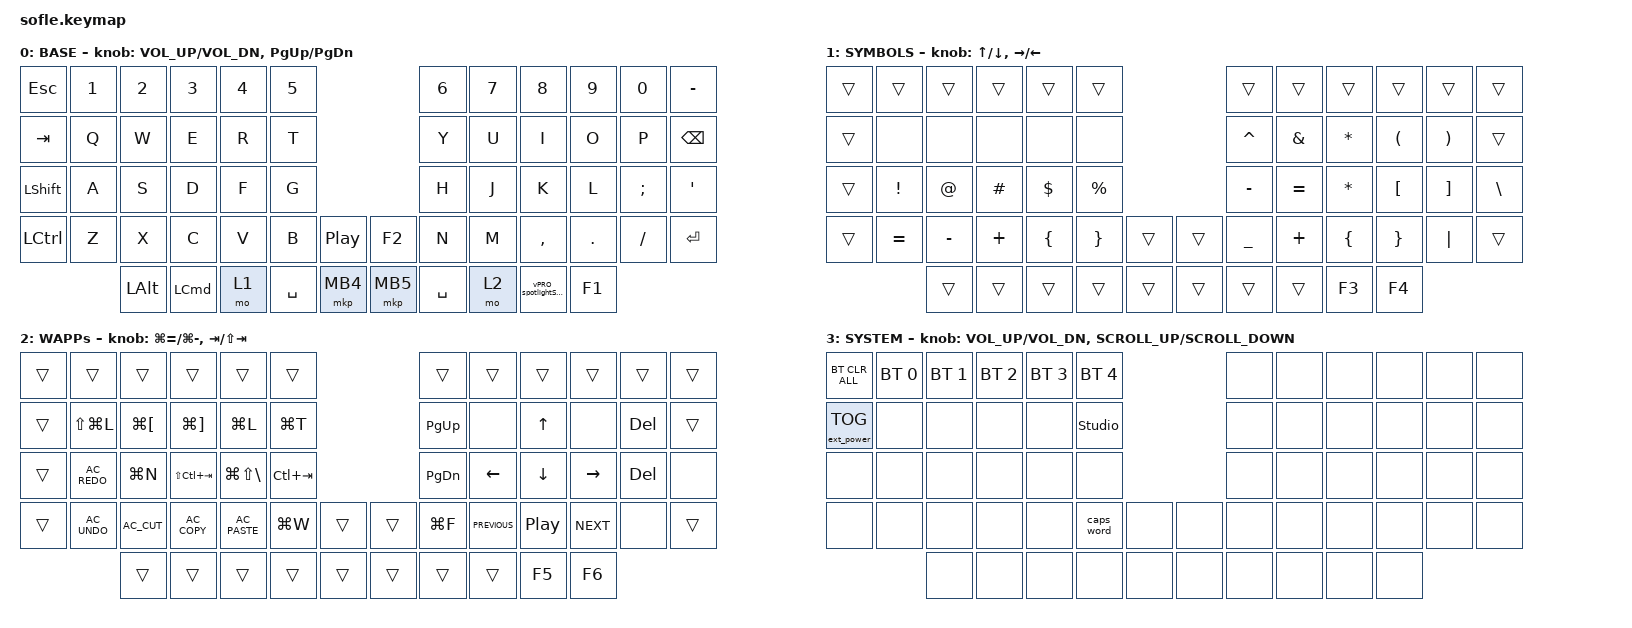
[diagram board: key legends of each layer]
/*
 * Copyright (c) 2020 The ZMK Contributors
 *
 * SPDX-License-Identifier: MIT
 */

#include <behaviors.dtsi>
#include <dt-bindings/zmk/bt.h>
#include <dt-bindings/zmk/ext_power.h>
#include <dt-bindings/zmk/keys.h>
#include <dt-bindings/zmk/pointing.h>

// Encoders

&sensors { triggers-per-rotation = <30>; };

&left_encoder { steps = <60>; };

&right_encoder { steps = <60>; };

#define BASE 0
#define LOWER 1
#define RAISE 2
#define ADJUST 3

/ {
    // Activate ADJUST layer by pressing raise and lower

    conditional_layers {
        compatible = "zmk,conditional-layers";

        adjust_layer {
            if-layers = <LOWER RAISE>;
            then-layer = <ADJUST>;
        };
    };

    combos { compatible = "zmk,combos"; };

    behaviors {
        caps: caps {
            compatible = "zmk,behavior-caps-word";
            label = "CAPS";
            #binding-cells = <0>;
            continue-list = <POUND MINUS BACKSPACE UNDERSCORE>;
        };
    };

    macros {
        vPRO_leftClick: vPRO_leftClick {
            compatible = "zmk,behavior-macro";
            #binding-cells = <0>;
            bindings =
                <&macro_tap>,
                <&mkp LCLK &msc MOVE_X(10) &msc MOVE_X(-10)>;

            label = "VPRO_LEFTCLICK";
        };

        vPRO_rightClick: vPRO_rightClick {
            compatible = "zmk,behavior-macro";
            #binding-cells = <0>;
            bindings = <&macro_tap>, <&bt BT_SEL 1 &kp F11 &bt BT_SEL 0>;

            label = "VPRO_RIGHTCLICK";
        };

        vPRO_spotlightSearch: vPRO_spotlightSearch {
            compatible = "zmk,behavior-macro";
            #binding-cells = <0>;
            bindings = <&kp LG(SPACE)>;
            label = "VPRO_SPOTLIGHTSEARCH";
        };

        vPRO_f1repeat: vPRO_fRepeat {
            compatible = "zmk,behavior-macro";
            #binding-cells = <0>;
            bindings = <&kp F1 &key_repeat>;
            label = "VPRO_FREPEAT";
        };

        vPRO_f2repeat: vPRO_f1repeat {
            compatible = "zmk,behavior-macro";
            #binding-cells = <0>;
            bindings = <&kp F2 &key_repeat>;
            label = "VPRO_F1REPEAT";
        };

        vPRO_f3repeat: vPRO_f3repeat {
            compatible = "zmk,behavior-macro";
            #binding-cells = <0>;
            bindings = <&kp F3 &key_repeat>;
            label = "VPRO_F3REPEAT";
        };

        vPRO_f4repeat: vPRO_f4repeat {
            compatible = "zmk,behavior-macro";
            #binding-cells = <0>;
            bindings = <&kp F4 &key_repeat>;
            label = "VPRO_F4REPEAT";
        };

        vPRO_f5repeat: vPRO_f5repeat {
            compatible = "zmk,behavior-macro";
            #binding-cells = <0>;
            bindings = <&kp F5 &key_repeat>;
            label = "VPRO_F5REPEAT";
        };

        vPRO_f6repeat: vPRO_f6repeat {
            compatible = "zmk,behavior-macro";
            #binding-cells = <0>;
            bindings = <&kp F6 &key_repeat>;
            label = "VPRO_F6REPEAT";
        };

        vPRO_pinchTest: vPRO_pinchTest {
            compatible = "zmk,behavior-macro";
            #binding-cells = <0>;
            bindings = <&kp F20 &kp F19 &kp F20>;
            label = "VPRO_PINCHTEST";
        };
    };

    keymap {
        compatible = "zmk,keymap";

        default_layer {
            display-name = "BASE";

            // ------------------------------------------------------------------------------------------------------------
            // |   `   |  1  |  2  |  3   |  4   |  5   |                   |  6   |  7    |  8    |  9   |   0   |       |
            // |  ESC  |  Q  |  W  |  E   |  R   |  T   |                   |  Y   |  U    |  I    |  O   |   P   | BKSPC |
            // |  TAB  |  A  |  S  |  D   |  F   |  G   |                   |  H   |  J    |  K    |  L   |   ;   |   '   |
            // | SHIFT |  Z  |  X  |  C   |  V   |  B   |  MUTE  |  |       |  N   |  M    |  ,    |  .   |   /   | SHIFT |
            //               | GUI | ALT  | CTRL | LOWER|  ENTER |  | SPACE | RAISE| CTRL  | ALT   | GUI  |

            bindings = <
&kp ESCAPE        &kp N1  &kp N2        &kp N3            &kp N4  &kp N5                                   &kp N6     &kp N7  &kp N8                 &kp N9   &kp N0    &kp MINUS
&kp TAB           &kp Q   &kp W         &kp E             &kp R   &kp T                                    &kp Y      &kp U   &kp I                  &kp O    &kp P     &kp BSPC
&kp LEFT_SHIFT    &kp A   &kp S         &kp D             &kp F   &kp G                                    &kp H      &kp J   &kp K                  &kp L    &kp SEMI  &kp SQT
&kp LEFT_CONTROL  &kp Z   &kp X         &kp C             &kp V   &kp B      &kp C_PLAY_PAUSE    &kp F2    &kp N      &kp M   &kp COMMA              &kp DOT  &kp FSLH  &kp ENTER
                          &kp LEFT_ALT  &kp LEFT_COMMAND  &mo 1   &kp SPACE  &mkp MB4            &mkp MB5  &kp SPACE  &mo 2   &vPRO_spotlightSearch  &kp F1
            >;

            sensor-bindings =
                <&inc_dec_kp C_VOL_UP C_VOL_DN>,
                <&inc_dec_kp PG_UP PG_DN>;
        };

        lower_layer {
            display-name = "SYMBOLS";

            // TODO: Some binds are waiting for shifted keycode support.
            // ------------------------------------------------------------------------------------------------------------
            // |       |  F1 |  F2 |  F3  |  F4  |  F5  |                   |  F6  |  F7   |  F8   |  F9  |  F10  |  F11  |
            // |   `   |  1  |  2  |  3   |  4   |  5   |                   |  6   |  7    |  8    |  9   |   0   |  F12  |
            // |       |  !  |  @  |  #   |  $   |  %   |                   |  ^   |  &    |  *    |  (   |   )   |   |   |
            // |       |  =  |  -  |  +   |  {   |  }   |        |  |       |  [   |  ]    |  ;    |  :   |   \   |       |
            //               |     |      |      |      |        |  |       |      |       |       |      |

            bindings = <
&trans  &trans     &trans     &trans    &trans    &trans                       &trans          &trans         &trans          &trans                &trans                 &trans
&trans  &none      &none      &none     &none     &none                        &kp CARET       &kp AMPERSAND  &kp ASTRK       &kp LEFT_PARENTHESIS  &kp RIGHT_PARENTHESIS  &trans
&trans  &kp EXCL   &kp AT     &kp HASH  &kp DLLR  &kp PRCNT                    &kp MINUS       &kp EQUAL      &kp ASTRK       &kp LEFT_BRACKET      &kp RIGHT_BRACKET      &kp BACKSLASH
&trans  &kp EQUAL  &kp MINUS  &kp PLUS  &kp LBRC  &kp RBRC   &trans    &trans  &kp UNDERSCORE  &kp PLUS       &kp LEFT_BRACE  &kp RIGHT_BRACE       &kp PIPE               &trans
                   &trans     &trans    &trans    &trans     &trans    &trans  &trans          &trans         &kp F3          &kp F4
            >;

            sensor-bindings = <&inc_dec_kp UP DOWN>, <&inc_dec_kp RIGHT LEFT>;
        };

        raise_layer {
            display-name = "WAPPs";

            // ------------------------------------------------------------------------------------------------------------
            // | BTCLR | BT1  | BT2  |  BT3  |  BT4  |  BT5 |                |      |      |       |      |       |       |
            // |       | INS  | PSCR | GUI   |       |      |                | PGUP |      |   ^   |      |       |       |
            // |       | ALT  | CTRL | SHIFT |       | CAPS |                | PGDN |   <- |   v   |  ->  |  DEL  | BKSPC |
            // |       | UNDO | CUT  | COPY  | PASTE |      |      |  |      |      |      |       |      |       |       |
            //                |      |       |       |      |      |  |      |      |      |       |      |

            bindings = <
&trans  &trans         &trans                &trans                 &trans                 &trans                         &trans     &trans          &trans            &trans      &trans      &trans
&trans  &kp LS(LG(L))  &kp LG(LEFT_BRACKET)  &kp LG(RIGHT_BRACKET)  &kp LG(L)              &kp LG(T)                      &kp PG_UP  &none           &kp UP            &none       &kp DELETE  &trans
&trans  &kp C_AC_REDO  &kp LG(N)             &kp LS(LC(TAB))        &kp LG(LS(BACKSLASH))  &kp LC(TAB)                    &kp PG_DN  &kp LEFT        &kp DOWN          &kp RIGHT   &kp DEL     &none
&trans  &kp C_AC_UNDO  &kp C_AC_CUT          &kp C_AC_COPY          &kp C_AC_PASTE         &kp LG(W)    &trans    &trans  &kp LG(F)  &kp C_PREVIOUS  &kp C_PLAY_PAUSE  &kp C_NEXT  &none       &trans
                       &trans                &trans                 &trans                 &trans       &trans    &trans  &trans     &trans          &kp F5            &kp F6
            >;

            sensor-bindings =
                <&inc_dec_kp LG(EQUAL) LG(MINUS)>,
                <&inc_dec_kp TAB LS(TAB)>;
        };

        adjust_layer {
            // ----------------------------------------------------------------------------------------------------------------------------
            // | BTCLR  |  BT1    |  BT2    |   BT3   |   BT4   |   BT5   |                  |      |      |       |      |       |       |
            // | EXTPWR | RGB_HUD | RGB_HUI | RGB_SAD | RGB_SAI | RGB_EFF |                  |      |      |       |      |       |       |
            // |        | RGB_BRD | RGB_BRI |         |         |         |                  |      |      |       |      |       |       |
            // |        |         |         |         |         |         | RGB_TOG | |      |      |      |       |      |       |       |
            //                    |         |         |         |         |         | |      |      |      |       |      |

            display-name = "SYSTEM";
            bindings = <
&bt BT_CLR_ALL     &bt BT_SEL 0  &bt BT_SEL 1  &bt BT_SEL 2  &bt BT_SEL 3  &bt BT_SEL 4                    &none  &none  &none  &none  &none  &none
&ext_power EP_TOG  &none         &none         &none         &none         &studio_unlock                  &none  &none  &none  &none  &none  &none
&none              &none         &none         &none         &none         &none                           &none  &none  &none  &none  &none  &none
&none              &none         &none         &none         &none         &caps_word      &none    &none  &none  &none  &none  &none  &none  &none
                                 &none         &none         &none         &none           &none    &none  &none  &none  &none  &none
            >;

            sensor-bindings =
                <&inc_dec_kp C_VOL_UP C_VOL_DN>,
                <&inc_dec_kp K_SCROLL_UP K_SCROLL_DOWN>;
        };
    };
};
